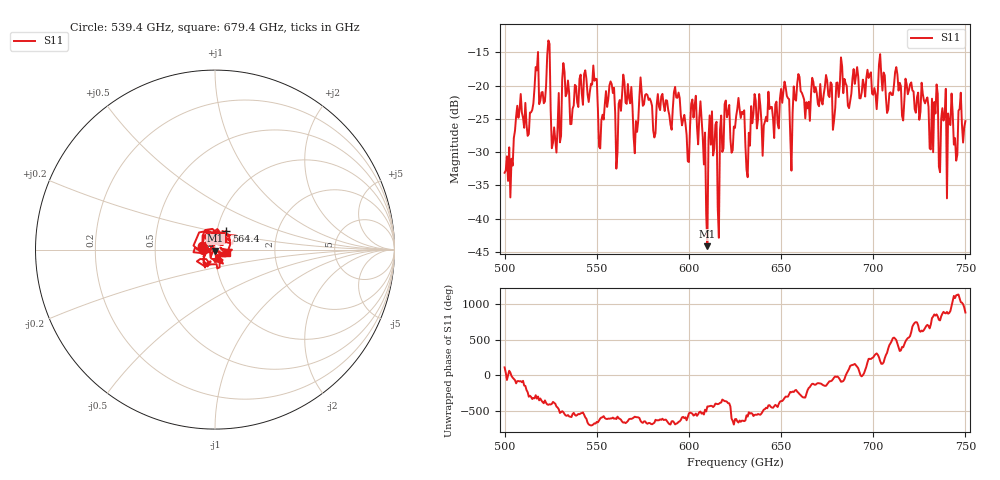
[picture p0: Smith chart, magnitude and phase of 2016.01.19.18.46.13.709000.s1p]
!Created with skrf (http://scikit-rf.org).
# GHz S RI R 50.0
!freq ReS11 ImS11
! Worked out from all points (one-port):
!   401 points, 500 GHz to 750 GHz, reference 50 ohm
!   lowest |S11| = -44.1 dB at 610 GHz (marker M1), VSWR 1.01, Z = 50.1 - j0.604 ohm
!   |S11| at or under -10 dB: start of sweep to end of sweep
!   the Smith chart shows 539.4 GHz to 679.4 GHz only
!   S11 on the Smith chart (normalised r, x): 539.4 GHz: 0.86, +0.03; 564.4 GHz: 1.11, +0.23; 679.4 GHz: 1.14, -0.04
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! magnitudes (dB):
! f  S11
! 500 GHz  -33.1
! 516.9 GHz  -17.2
! 523.8 GHz  -13.2
! 526.9 GHz  -26.3
! 531.2 GHz  -19.1
! 539.4 GHz  -22.5
! 562.5 GHz  -22.2
! 564.4 GHz  -18.4
! 571.2 GHz  -25.3
! 574.4 GHz  -21.0
! 593.8 GHz  -21.8
! 599.4 GHz  -31.4
! 602.5 GHz  -24.8
! 610 GHz  -44.1
! 611.9 GHz  -28.9
! 616.9 GHz  -26.6
! 620.6 GHz  -24.8
! 625 GHz  -26.4
! 631.9 GHz  -33.8
! 635 GHz  -24.2
! 651.2 GHz  -20.9
! 656.2 GHz  -24.2
! 660 GHz  -18.7
! 679.4 GHz  -23.4
! 687.5 GHz  -22.4
! 718.8 GHz  -21.3
! 731.2 GHz  -29.6
! 750 GHz  -25.3
